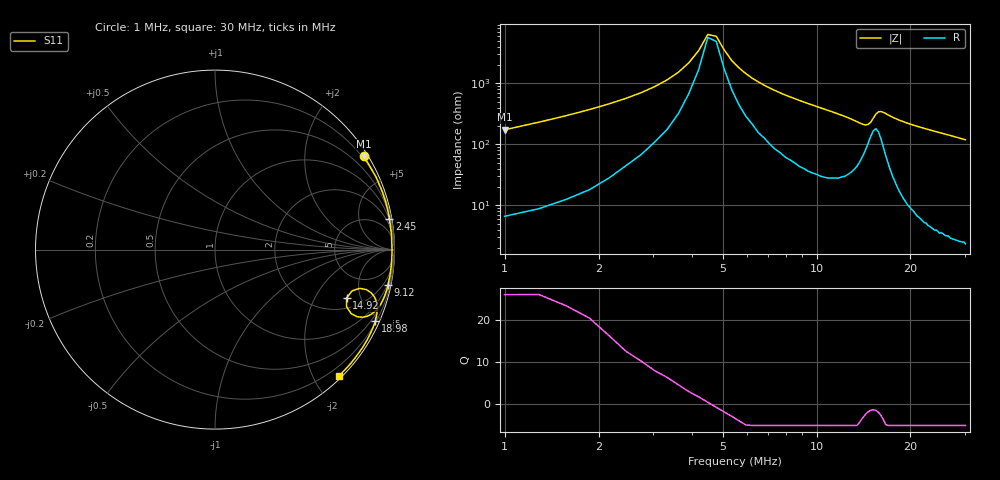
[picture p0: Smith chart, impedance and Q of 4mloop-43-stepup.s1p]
! File created by NanoVNA MOD v3.0 by alex_m https://www.rtl-sdr.com/forum/viewtopic.php?f=4&t=4881
! Start 1000000Hz  Stop 30000000Hz  Points 101
# Hz S MA R 50
!S - Parameter data, F S11
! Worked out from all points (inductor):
!   101 points, 1 MHz to 30 MHz, reference 50 ohm
!   read as one part to ground: L = 26.2 uH near 1 MHz
!   highest Q = 26 at 1 MHz (marker M1), where L = 27.6 uH
!   self-resonance near 4.48 MHz
!   S11 on the Smith chart (normalised r, x): 1 MHz: 0.13, +3.47; 2.45 MHz: 1, +11; 9.12 MHz: 0.80, -9.82; 14.92 MHz: 2.70, -3.74; 18.98 MHz: 0.26, -4.70; 30 MHz: 0.05, -2.38
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1000000  0.9798 32.2
1290000  0.9843 24.4
1580000  0.9861 19.1
1870000  0.9872 15.3
2450000  0.9863 10.0
3320000  0.9866 5.0
4770000  0.9861 -0.6
6220000  0.9855 -4.7
8250000  0.9847 -9.5
9120000  0.9838 -11.6
1.086e7  0.9791 -15.7
1.202e7  0.9691 -18.8
1.318e7  0.9414 -22.6
1.376e7  0.9052 -24.6
1.405e7  0.8754 -25.3
1.434e7  0.8379 -25.2
1.463e7  0.7995 -23.5
1.492e7  0.781 -20.2
1.521e7  0.7976 -16.7
1.55e7  0.8352 -15.0
1.608e7  0.9024 -15.4
1.666e7  0.9393 -17.4
1.753e7  0.9632 -20.2
1.898e7  0.9778 -24.0
1.927e7  0.9791 -24.6
2.275e7  0.986 -31.7
2.652e7  0.9863 -38.7
3e7  0.986 -45.6
